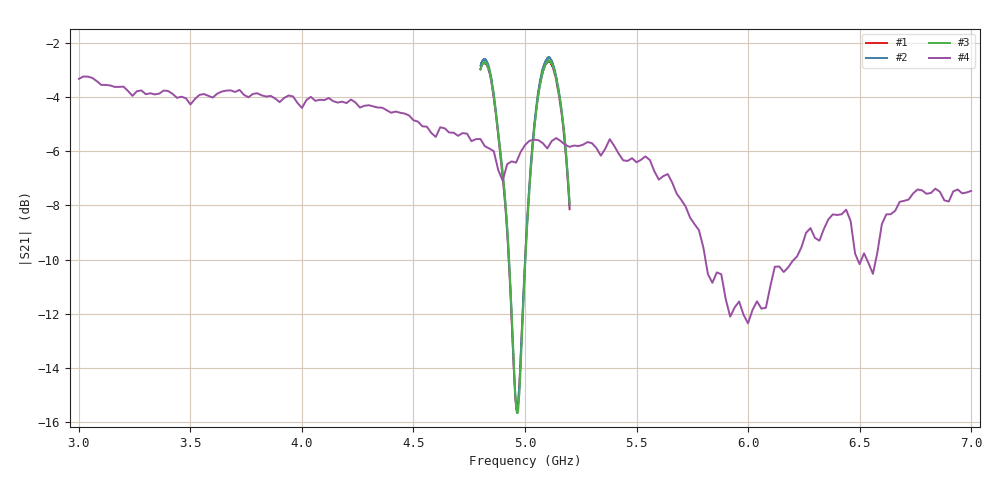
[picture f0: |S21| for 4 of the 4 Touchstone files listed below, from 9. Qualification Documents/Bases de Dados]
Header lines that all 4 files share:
! Network Analyzer HP8722D
! Hewlett-Packard
!  Frequency  S11  S21  S12  S22
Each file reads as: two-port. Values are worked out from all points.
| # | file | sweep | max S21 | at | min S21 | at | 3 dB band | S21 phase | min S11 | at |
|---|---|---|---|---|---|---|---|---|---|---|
| 1 | 4G8_5G2_RH5_11-04-25.S2P | 4.8 GHz to 5.2 GHz | -2.66 dB | 5.104 GHz | -15.6 dB | 4.964 GHz | 5.036 GHz-5.178 GHz | -146 deg at 5 GHz | -31.0 dB | 4.806 GHz |
| 2 | 4G8_5G2_RH10_11-04-25.S2P | 4.8 GHz to 5.2 GHz | -2.53 dB | 5.108 GHz | -15.5 dB | 4.964 GHz | 5.036 GHz-5.178 GHz | -145 deg at 5 GHz | -31.8 dB | 4.81 GHz |
| 3 | 2025-03-28_Linha&Divisores_RH25.S2P | 4.8 GHz to 5.2 GHz | -2.64 dB | 5.107 GHz | -15.7 dB | 4.966 GHz | 5.037 GHz-5.179 GHz | -146 deg at 5 GHz | -28.4 dB | 4.805 GHz |
| 4 | Meandro_linha_Direta1.S2P | 3 GHz to 7 GHz | -3.24 dB | 3.02 GHz | -12.4 dB | 6 GHz | 3 GHz-4.86 GHz | 17 deg at 5 GHz | -46.7 dB | 4.4 GHz |
